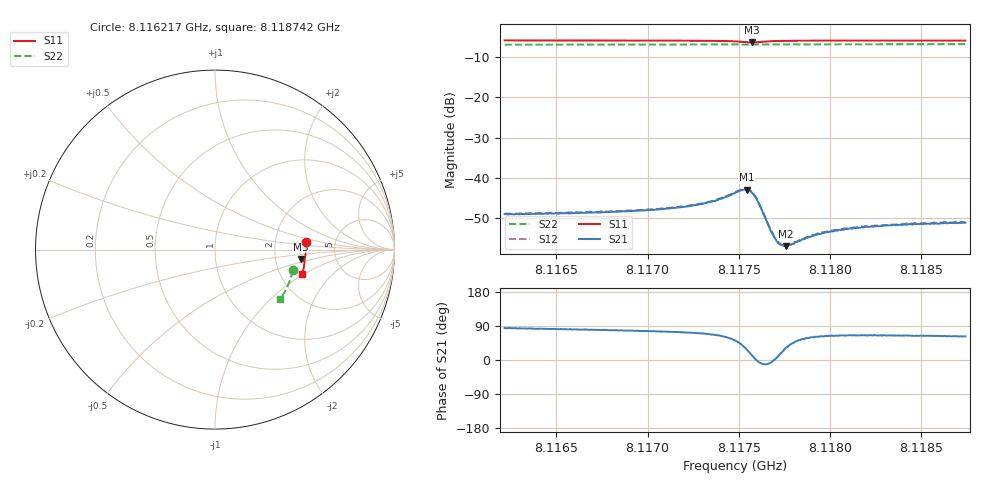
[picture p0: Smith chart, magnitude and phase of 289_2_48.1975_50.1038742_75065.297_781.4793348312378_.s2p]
#  HZ  S  RI  R  50.00
! Rohde & Schwarz Vector Network Analyzer
! Rohde-Schwarz,ZNB20-2Port,1311601062101988,3.16
! Created: UTC 3/20/2024, 11:49:00 AM
! freq[Hz]  re:S11  im:S11  re:S21  im:S21  re:S12  im:S12  re:S22  im:S22
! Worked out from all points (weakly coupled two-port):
!   401 points, 8.116217 GHz to 8.118742 GHz, reference 50 ohm
!   highest |S21| = -42.90 dB at 8.117542 GHz (marker M1); lowest = -56.9 dB at 8.117757 GHz (marker M2)
!   lowest |S11| = -6.4 dB at 8.117574 GHz (marker M3), VSWR 2.84, Z = 139 - j18.8 ohm
!   |S11| at or under -10 dB: nowhere
!   |S22| runs from -7.0 to -6.8 dB; largest |S21 - S12| = 0.00019
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8.1162169e9  0.5054 0.042  0.000364 0.00353  0.000423 0.00357  0.4337 -0.1163
8.1166398e9  0.5065 0.0101  0.000636 0.00366  0.000666 0.00366  0.4262 -0.1449
8.1170627e9  0.5051 -0.0229  0.00101 0.00396  0.00111 0.00399  0.4169 -0.1727
8.1172078e9  0.5036 -0.035  0.00134 0.0042  0.00138 0.0043  0.4132 -0.1822
8.1173088e9  0.5017 -0.044  0.00166 0.00453  0.00175 0.00455  0.4106 -0.1888
8.1173972e9  0.4984 -0.0528  0.00238 0.00492  0.0025 0.00499  0.4082 -0.1945
8.1174793e9  0.4906 -0.061  0.00404 0.00512  0.00418 0.00519  0.4055 -0.1998
8.1175171e9  0.4836 -0.0621  0.00543 0.00451  0.00556 0.00455  0.404 -0.2021
8.1175424e9  0.4786 -0.0595  0.00631 0.00338  0.00645 0.00341  0.4031 -0.2034
8.1175739e9  0.4764 -0.0521  0.00639 0.00127  0.00652 0.00126  0.4023 -0.2049
8.1176055e9  0.4813 -0.0462  0.00501 -0.000346  0.00513 -0.000369  0.4017 -0.2066
8.1176749e9  0.4937 -0.0495  0.00217 -0.000267  0.00224 -0.00033  0.4002 -0.2112
8.1177002e9  0.4958 -0.0526  0.00176 7.68e-05  0.00175 7.21e-05  0.3995 -0.2128
8.1177191e9  0.4969 -0.0549  0.0015 0.000305  0.00154 0.000307  0.3989 -0.2139
8.1177317e9  0.4975 -0.0565  0.0014 0.000459  0.00141 0.000464  0.3987 -0.2148
8.117757e9  0.4982 -0.0595  0.00121 0.000748  0.00128 0.000727  0.398 -0.2165
8.1177885e9  0.4988 -0.063  0.0011 0.001  0.00115 0.00105  0.3969 -0.2184
8.1179022e9  0.4987 -0.0741  0.000964 0.00167  0.00095 0.00168  0.3933 -0.2258
8.1179716e9  0.4981 -0.0801  0.000947 0.00188  0.000986 0.0019  0.3912 -0.23
8.1180663e9  0.4969 -0.0879  0.000963 0.00207  0.00103 0.00207  0.3878 -0.236
8.1183251e9  0.493 -0.108  0.0011 0.00234  0.00116 0.00239  0.379 -0.2516
8.1187417e9  0.4851 -0.1387  0.00129 0.00246  0.00134 0.00249  0.3629 -0.2762
